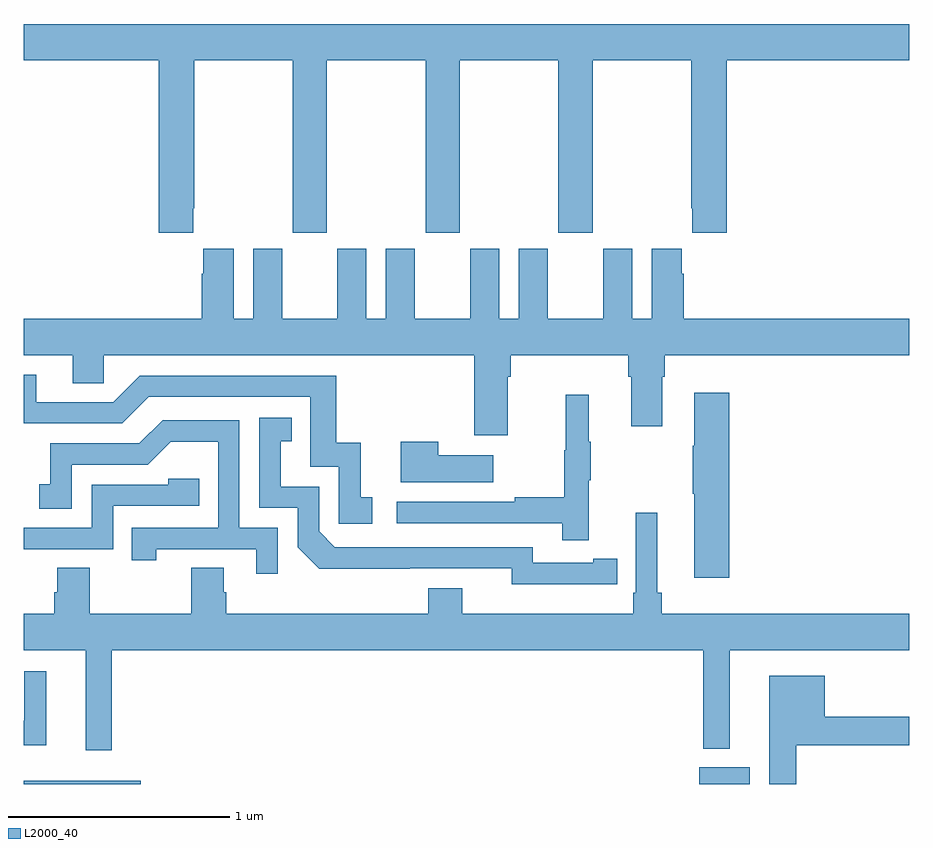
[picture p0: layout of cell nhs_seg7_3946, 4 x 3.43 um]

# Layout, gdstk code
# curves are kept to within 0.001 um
import gdstk
lib = gdstk.Library(unit=1e-6, precision=1e-09)
def R(c, l, rs):  # rectangles x0, y0, x1, y1
    for r in rs: c.add(gdstk.rectangle(r[:2], r[2:], *l))
def P(c, l, *ps):  # polygons
    for p in ps: c.add(gdstk.Polygon(p, *l))
L2000_40 = (2000, 40)

nhs_seg7_3946 = lib.new_cell('nhs_seg7_3946')
R(nhs_seg7_3946, L2000_40, [(361,1012,361.529,1012.015), (364.052,1012,364.279,1012.075)])
P(nhs_seg7_3946, L2000_40, [(361,1015.268),(361.61,1015.268),(361.61,1014.489),(361.765,1014.489),(361.765,1014.601),(361.77,1014.601),(361.77,1015.268),(362.215,1015.268),(362.215,1014.489),(362.37,1014.489),(362.37,1015.268),(362.815,1015.268),(362.815,1014.489),(362.97,1014.489),(362.97,1015.268),(363.415,1015.268),(363.415,1014.489),(363.57,1014.489),(363.57,1015.268),(364.015,1015.268),(364.015,1014.601),(364.019,1014.601),(364.019,1014.489),(364.175,1014.489),(364.175,1015.268),(365,1015.268),(365,1015.432),(361,1015.432)],
  [(363.187,1013.84),(363.2,1013.84),(363.2,1013.936),(363.731,1013.936),(363.731,1013.84),(363.743,1013.84),(363.743,1013.616),(363.883,1013.616),(363.883,1013.84),(363.896,1013.84),(363.896,1013.936),(365,1013.936),(365,1014.1),(363.98,1014.1),(363.98,1014.305),(363.973,1014.305),(363.973,1014.418),(363.836,1014.418),(363.836,1014.1),(363.748,1014.1),(363.748,1014.418),(363.617,1014.418),(363.617,1014.1),(363.367,1014.1),(363.367,1014.418),(363.236,1014.418),(363.236,1014.1),(363.148,1014.1),(363.148,1014.418),(363.017,1014.418),(363.017,1014.1),(362.767,1014.1),(362.767,1014.418),(362.636,1014.418),(362.636,1014.1),(362.548,1014.1),(362.548,1014.418),(362.417,1014.418),(362.417,1014.1),(362.167,1014.1),(362.167,1014.418),(362.036,1014.418),(362.036,1014.1),(361.948,1014.1),(361.948,1014.418),(361.811,1014.418),(361.811,1014.305),(361.805,1014.305),(361.805,1014.1),(361,1014.1),(361,1013.936),(361.223,1013.936),(361.223,1013.809),(361.362,1013.809),(361.362,1013.936),(363.035,1013.936),(363.035,1013.574),(363.187,1013.574)],
  [(362.575,1013.295),(362.522,1013.295),(362.522,1013.542),(362.411,1013.542),(362.411,1013.844),(361.524,1013.844),(361.404,1013.724),(361.057,1013.724),(361.057,1013.847),(361,1013.847),(361,1013.628),(361.446,1013.628),(361.566,1013.748),(362.295,1013.748),(362.295,1013.433),(362.424,1013.433),(362.424,1013.175),(362.575,1013.175)],
  [(364.187,1013.767),(364.028,1013.767),(364.028,1013.528),(364.021,1013.528),(364.021,1013.311),(364.028,1013.311),(364.028,1012.932),(364.187,1012.932)],
  [(363.551,1013.371),(363.562,1013.371),(363.562,1013.545),(363.551,1013.545),(363.551,1013.758),(363.448,1013.758),(363.448,1013.508),(363.441,1013.508),(363.441,1013.294),(363.217,1013.294),(363.217,1013.274),(362.685,1013.274),(362.685,1013.178),(363.433,1013.178),(363.433,1013.1),(363.551,1013.1)],
  [(363.572,1012.902),(363.68,1012.902),(363.68,1013.018),(363.572,1013.018),(363.572,1012.998),(363.3,1012.998),(363.3,1013.07),(362.406,1013.07),(362.334,1013.142),(362.334,1013.343),(362.161,1013.343),(362.161,1013.547),(362.21,1013.547),(362.21,1013.653),(362.064,1013.653),(362.064,1013.247),(362.238,1013.247),(362.238,1013.07),(362.336,1012.973),(363.204,1012.974),(363.204,1012.901)],
  [(362.148,1013.157),(361.974,1013.157),(361.974,1013.643),(361.628,1013.643),(361.523,1013.538),(361.12,1013.538),(361.12,1013.353),(361.071,1013.353),(361.071,1013.244),(361.218,1013.244),(361.218,1013.442),(361.56,1013.442),(361.664,1013.546),(361.878,1013.546),(361.878,1013.157),(361.489,1013.157),(361.489,1013.01),(361.6,1013.01),(361.6,1013.061),(362.051,1013.061),(362.051,1012.95),(362.148,1012.95)],
  [(363.121,1013.485),(362.873,1013.485),(362.873,1013.545),(362.702,1013.545),(362.702,1013.363),(363.121,1013.363)],
  [(361.404,1013.256),(361.793,1013.256),(361.793,1013.379),(361.653,1013.379),(361.653,1013.352),(361.308,1013.352),(361.308,1013.157),(361,1013.157),(361,1013.061),(361.404,1013.061)],
  [(364.068,1012.16),(364.189,1012.16),(364.189,1012.604),(365,1012.604),(365,1012.768),(363.881,1012.768),(363.881,1012.864),(363.862,1012.864),(363.862,1013.224),(363.765,1013.224),(363.765,1012.864),(363.752,1012.864),(363.752,1012.768),(362.98,1012.768),(362.98,1012.885),(362.828,1012.885),(362.828,1012.768),(361.916,1012.768),(361.916,1012.866),(361.903,1012.866),(361.903,1012.976),(361.756,1012.976),(361.756,1012.768),(361.299,1012.768),(361.299,1012.976),(361.151,1012.976),(361.151,1012.866),(361.139,1012.866),(361.139,1012.768),(361,1012.768),(361,1012.604),(361.28,1012.604),(361.28,1012.152),(361.397,1012.152),(361.397,1012.604),(364.068,1012.604)],
  [(361.103,1012.51),(361.004,1012.51),(361.004,1012.285),(361,1012.285),(361,1012.175),(361.103,1012.175)],
  [(364.489,1012.174),(365,1012.174),(365,1012.303),(364.618,1012.303),(364.618,1012.489),(364.367,1012.489),(364.367,1012),(364.489,1012)])

lib.write_gds('nhs_seg7_3946.gds')
